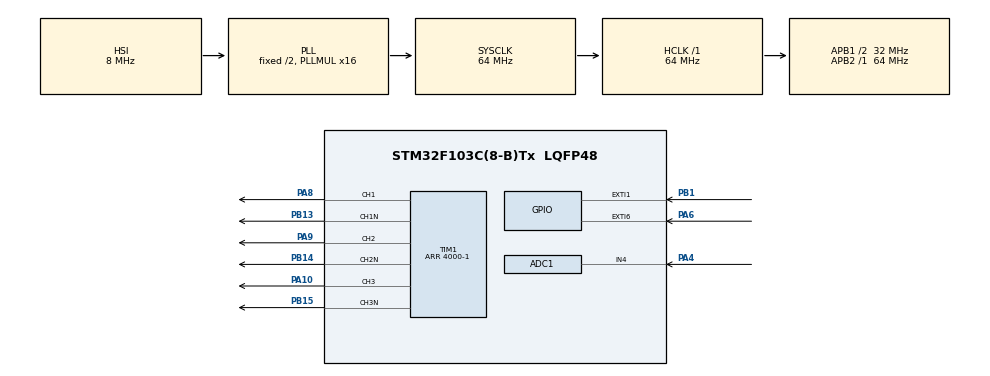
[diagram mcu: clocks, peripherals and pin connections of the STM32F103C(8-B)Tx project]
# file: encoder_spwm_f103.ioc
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ADC1.Channel-0\#ChannelRegularConversion=ADC_CHANNEL_4
ADC1.ContinuousConvMode=ENABLE
ADC1.EnableInjectedConversion=ENABLE
ADC1.NbrOfConversionFlag=1
ADC1.Rank-0\#ChannelRegularConversion=1
ADC1.SamplingTime-0\#ChannelRegularConversion=ADC_SAMPLETIME_1CYCLE_5
ADC1.master=1
Mcu.Family=STM32F1
Mcu.Name=STM32F103C(8-B)Tx
Mcu.Package=LQFP48
NVIC.EXTI1_IRQn=true\:0\:0\:false\:false\:true\:true\:true\:true
NVIC.EXTI9_5_IRQn=true\:0\:0\:false\:false\:true\:true\:true\:true
NVIC.PriorityGroup=NVIC_PRIORITYGROUP_4
NVIC.TIM4_IRQn=true\:0\:0\:false\:false\:true\:true\:true\:true
PA10.Signal=S_TIM1_CH3
PA13.Mode=Serial_Wire
PA13.Signal=SYS_JTMS-SWDIO
PA14.Mode=Serial_Wire
PA14.Signal=SYS_JTCK-SWCLK
PA4.Signal=ADCx_IN4
PA6.GPIO_ModeDefaultEXTI=GPIO_MODE_IT_RISING
PA6.GPIO_PuPd=GPIO_PULLUP
PA6.Signal=GPXTI6
PA8.Signal=S_TIM1_CH1
PA9.Signal=S_TIM1_CH2
PB1.GPIO_ModeDefaultEXTI=GPIO_MODE_IT_RISING
PB1.GPIO_PuPd=GPIO_PULLUP
PB1.Signal=GPXTI1
PB13.Mode=PWM Generation1 CH1 CH1N
PB13.Signal=TIM1_CH1N
PB14.Mode=PWM Generation2 CH2 CH2N
PB14.Signal=TIM1_CH2N
PB15.Mode=PWM Generation3 CH3 CH3N
PB15.Signal=TIM1_CH3N
ProjectManager.HeapSize=0x200
ProjectManager.StackSize=0x400
ProjectManager.TargetToolchain=STM32CubeIDE
RCC.ADCPresc=RCC_ADCPCLK2_DIV6
RCC.AHBFreq_Value=64000000
RCC.APB1CLKDivider=RCC_HCLK_DIV2
RCC.APB1Freq_Value=32000000
RCC.APB1TimFreq_Value=64000000
RCC.APB2Freq_Value=64000000
RCC.APB2TimFreq_Value=64000000
RCC.HCLKFreq_Value=64000000
RCC.PLLMUL=RCC_PLL_MUL16
RCC.SYSCLKFreq_VALUE=64000000
RCC.SYSCLKSource=RCC_SYSCLKSOURCE_PLLCLK
RCC.USBFreq_Value=64000000
SH.ADCx_IN4.0=ADC1_IN4,IN4
SH.S_TIM1_CH1.0=TIM1_CH1,PWM Generation1 CH1 CH1N
SH.S_TIM1_CH2.0=TIM1_CH2,PWM Generation2 CH2 CH2N
SH.S_TIM1_CH3.0=TIM1_CH3,PWM Generation3 CH3 CH3N
TIM1.Channel-PWM\ Generation1\ CH1\ CH1N=TIM_CHANNEL_1
TIM1.Channel-PWM\ Generation2\ CH2\ CH2N=TIM_CHANNEL_2
TIM1.Channel-PWM\ Generation3\ CH3\ CH3N=TIM_CHANNEL_3
TIM1.CounterMode=TIM_COUNTERMODE_CENTERALIGNED1
TIM1.DeadTime=200
TIM1.Period=4000-1
TIM4.AutoReloadPreload=TIM_AUTORELOAD_PRELOAD_ENABLE
TIM4.Period=10000
TIM4.Prescaler=1000-1
VP_TIM1_VS_ClockSourceINT.Mode=Internal
VP_TIM2_VS_ClockSourceINT.Mode=Internal
VP_TIM4_VS_ClockSourceINT.Mode=Internal
board=custom

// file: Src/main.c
/* USER CODE BEGIN Header */
/**
  ******************************************************************************
  * @file           : main.c
  * @brief          : Main program body
  ******************************************************************************
  * @attention
  *
  * Copyright (c) 2024 STMicroelectronics.
  * All rights reserved.
  *
  * This software is licensed under terms that can be found in the LICENSE file
  * in the root directory of this software component.
  * If no LICENSE file comes with this software, it is provided AS-IS.
  *
  ******************************************************************************
  */
/* USER CODE END Header */
#include "main.h"
#include "adc.h"
#include "tim.h"
#include "gpio.h"

/* USER CODE BEGIN Includes */

#include "math.h"

/* USER CODE END Includes */

/* USER CODE BEGIN PD */

#define TIMEOUT_THRESHOLD 100000000
#define M_PI 3.14159265358979323846
#define INDEX 64

#define STARTUP 1
#define RUNNING 2
#define MEASURE 3
#define PAUSE 4
#define EXC_TIME 100
#define EXC_THROTTLE 85
#define STOP 0

/* USER CODE END PD */

/* USER CODE BEGIN PV */

uint32_t counter1=0;
uint32_t counter2=0;

uint32_t prevTime = 0;
uint32_t currTime = 0;
float speed = 0;

int adc_val=0;
float throttle=0;

int state = STARTUP, pstate = STARTUP;

float angle=80;
float value1=0 , value2=0 , value3=0;
int sin_table1[INDEX];
int sin_table2[INDEX];
int sin_table3[INDEX];
int position = 0, position_captured = 0;
int dir=1;
int const_angle=40;
int sign=1;

/* USER CODE END PV */

void SystemClock_Config(void);
/* USER CODE BEGIN PFP */

void spwm_commutation();
int catch_throttle();

/* USER CODE END PFP */

int main(void)
{

  /* MCU Configuration--------------------------------------------------------*/

  /* Reset of all peripherals, Initializes the Flash interface and the Systick. */
  HAL_Init();

  /* Configure the system clock */
  SystemClock_Config();

  /* Initialize all configured peripherals */
  MX_GPIO_Init();
  MX_ADC1_Init();
  MX_TIM1_Init();
  MX_TIM2_Init();
  MX_TIM4_Init();
  /* USER CODE BEGIN 2 */

 //

  if(dir==0)
  {
  	const_angle=50;
  	sign=1;
  }

  else
  	{
  	const_angle=19;
  	sign=-1;
  	}

for(int i=0 ; i< INDEX; i++)
{
	sin_table1[i]=4650*(sin(i*2*M_PI/64)+ sin(3*(i*2*M_PI/64))/6);
	sin_table2[i]=4650*(sin(i*2*M_PI/64 + sign*2*M_PI/3)+sin(3*(i*2*M_PI/64))/6);
	sin_table3[i]=4650*(sin(i*2*M_PI/64 - sign*2*M_PI/3)+sin(3*(i*2*M_PI/64))/6);
}

  HAL_TIM_PWM_Start(&htim1, TIM_CHANNEL_1);
  HAL_TIM_PWM_Start(&htim1, TIM_CHANNEL_2);
  HAL_TIM_PWM_Start(&htim1, TIM_CHANNEL_3);

  HAL_TIMEx_PWMN_Start(&htim1, TIM_CHANNEL_1);
  HAL_TIMEx_PWMN_Start(&htim1, TIM_CHANNEL_2);
  HAL_TIMEx_PWMN_Start(&htim1, TIM_CHANNEL_3);

  HAL_ADC_Start(&hadc1);

 HAL_TIM_Base_Start_IT(&htim4);

  /* USER CODE END 2 */

  /* Infinite loop */
  while (1)
  {

    /* USER CODE BEGIN 3 */

	    //currTime = __HAL_TIM_GET_COUNTER(&htim2);
	   // if ((currTime - prevTime) > TIMEOUT_THRESHOLD)
	   // {
	    //  speed = 0;
	   // }

	   // value1 = sin_table1(counter1);
	    //value2 = sin_table2(counter1);
	    //value3 = sin_table3(counter1);
	 //HAL_ADC_Start(&hadc1) ;
	 //HAL_ADC_PollForConversion(&hadc1,HAL_MAX_DELAY);
	 //adc_val=HAL_ADC_GetValue(&hadc1);
	// throttle = 1;
/*
	  value1= 2000 + sin_table1[counter1];
	  value2= 2000 + sin_table2[counter1];
	  value3= 2000 + sin_table3[counter1];
	  switch(state)
		 	 	  {
		 	       case STARTUP:
		              TIM1->CCR1 = value1;
		              TIM1->CCR2 = value2;
		              TIM1->CCR3 = value3;
		 	    	   break;

		 	       case RUNNING:
			              TIM1->CCR1 = value1;
			              TIM1->CCR2 = value2;
			              TIM1->CCR3 = value3;
		              break;

		 		   default:
		 		  	  state = STARTUP;
		 	 	  }
*/
//throttle=catch_throttle();

spwm_commutation();
  }
  /* USER CODE END 3 */
}

void SystemClock_Config(void)
{
  RCC_OscInitTypeDef RCC_OscInitStruct = {0};
  RCC_ClkInitTypeDef RCC_ClkInitStruct = {0};
  RCC_PeriphCLKInitTypeDef PeriphClkInit = {0};

  /** Initializes the RCC Oscillators according to the specified parameters
  * in the RCC_OscInitTypeDef structure.
  */
  RCC_OscInitStruct.OscillatorType = RCC_OSCILLATORTYPE_HSI;
  RCC_OscInitStruct.HSIState = RCC_HSI_ON;
  RCC_OscInitStruct.HSICalibrationValue = RCC_HSICALIBRATION_DEFAULT;
  RCC_OscInitStruct.PLL.PLLState = RCC_PLL_ON;
  RCC_OscInitStruct.PLL.PLLSource = RCC_PLLSOURCE_HSI_DIV2;
  RCC_OscInitStruct.PLL.PLLMUL = RCC_PLL_MUL16;
  if (HAL_RCC_OscConfig(&RCC_OscInitStruct) != HAL_OK)
  {
    Error_Handler();
  }

  /** Initializes the CPU, AHB and APB buses clocks
  */
  RCC_ClkInitStruct.ClockType = RCC_CLOCKTYPE_HCLK|RCC_CLOCKTYPE_SYSCLK
                              |RCC_CLOCKTYPE_PCLK1|RCC_CLOCKTYPE_PCLK2;
  RCC_ClkInitStruct.SYSCLKSource = RCC_SYSCLKSOURCE_PLLCLK;
  RCC_ClkInitStruct.AHBCLKDivider = RCC_SYSCLK_DIV1;
  RCC_ClkInitStruct.APB1CLKDivider = RCC_HCLK_DIV2;
  RCC_ClkInitStruct.APB2CLKDivider = RCC_HCLK_DIV1;

  if (HAL_RCC_ClockConfig(&RCC_ClkInitStruct, FLASH_LATENCY_2) != HAL_OK)
  {
    Error_Handler();
  }
  PeriphClkInit.PeriphClockSelection = RCC_PERIPHCLK_ADC;
  PeriphClkInit.AdcClockSelection = RCC_ADCPCLK2_DIV6;
  if (HAL_RCCEx_PeriphCLKConfig(&PeriphClkInit) != HAL_OK)
  {
    Error_Handler();
  }
}

/* USER CODE BEGIN 4 */

void HAL_TIM_PeriodElapsedCallback(TIM_HandleTypeDef *htim)
{

	throttle=catch_throttle();

}

int catch_throttle()
{

	int c_throttle = 0;
	HAL_ADC_PollForConversion(&hadc1, HAL_MAX_DELAY);
	adc_val = HAL_ADC_GetValue(&hadc1);

	if (adc_val < 1300)
	{
		c_throttle = 40;
	}
	else if (adc_val <= 2900)
	{
		c_throttle = 40 + ((adc_val - 1300)*(600-40))/(2900-1300);
	}
	else
	{
		c_throttle = 600;
	}
	return c_throttle;

}

void spwm_commutation()
{

	  value1= 2000 + throttle*sin_table1[counter1]/1200;
	  value2= 2000 + throttle*sin_table2[counter1]/1200;
	  value3= 2000 + throttle*sin_table3[counter1]/1200;
	  switch(state)
		 	 	  {
		 	       case STARTUP:
		              TIM1->CCR1 = value1;
		              TIM1->CCR2 = value2;
		              TIM1->CCR3 = value3;
		 	    	   break;

		 	       case RUNNING:
			              TIM1->CCR1 = value1;
			              TIM1->CCR2 = value2;
			              TIM1->CCR3 = value3;
		              break;

		 		   default:
		 		  	  state = STARTUP;
		 	 	  }

}

void HAL_GPIO_EXTI_Callback(uint16_t GPIO_Pin)
{

      if(GPIO_Pin == GPIO_PIN_6)
      {

		 if(counter1>=0 && counter1< 63)
		 {
			 counter1++;

		 }

		 else counter1=0;

	 position = position + 1;
	}

	if(GPIO_Pin == GPIO_PIN_1)
	{

		if(pstate == STARTUP)
		{
			counter1 = 0 + const_angle;
			state = RUNNING;
		}
		position_captured = position;
		if(position_captured >= 508 && position_captured <= 518)
		{
		     counter1 = 0 + const_angle;

		}
		position = 0;

  counter2++;

	}

}

/*

		//if(GPIO_Pin == GPIO_PIN_6)
	//	{

		    currTime = __HAL_TIM_GET_COUNTER(&htim2); // Get the current time from the timer

		    if (prevTime != 0)
		    {
		      uint32_t timeInterval = (currTime > prevTime) ? (currTime - prevTime) : ((0xFFFF - prevTime) + currTime + 1);
		      speed = (float)HAL_RCC_GetPCLK1Freq() / (htim2.Instance->PSC + 1) / timeInterval; // Calculate speed
		    }

		    prevTime = currTime;

		    */
	//	}

	//	t1 =(GPIOA->IDR & GPIO_PIN_5)? (1):(0); //PA5
	//	t2 =(GPIOA->IDR & GPIO_PIN_6)? (1):(0);

	//	state = t1<<1 |t2<<0;
   /*

		if(prevstate == 2)
		{
			if(state == 3) counter1++;
			else if(state==0) counter1--;
		}

		else if(prevstate == 3)
		{
			if(state == 1) counter1++;
			else if(state==2) counter1--;
		}

		else if(prevstate == 1)
		{
			if(state == 0) counter1++;
			else if(state==3) counter1--;
		}

		else if(prevstate == 0)
		{
			if(state == 2) counter1++;
			else if(state==1) counter1--;
		}

		prevstate=state;
*/

/* USER CODE END 4 */

void Error_Handler(void)
{
  __disable_irq();
  while (1)
  {
  }
}
